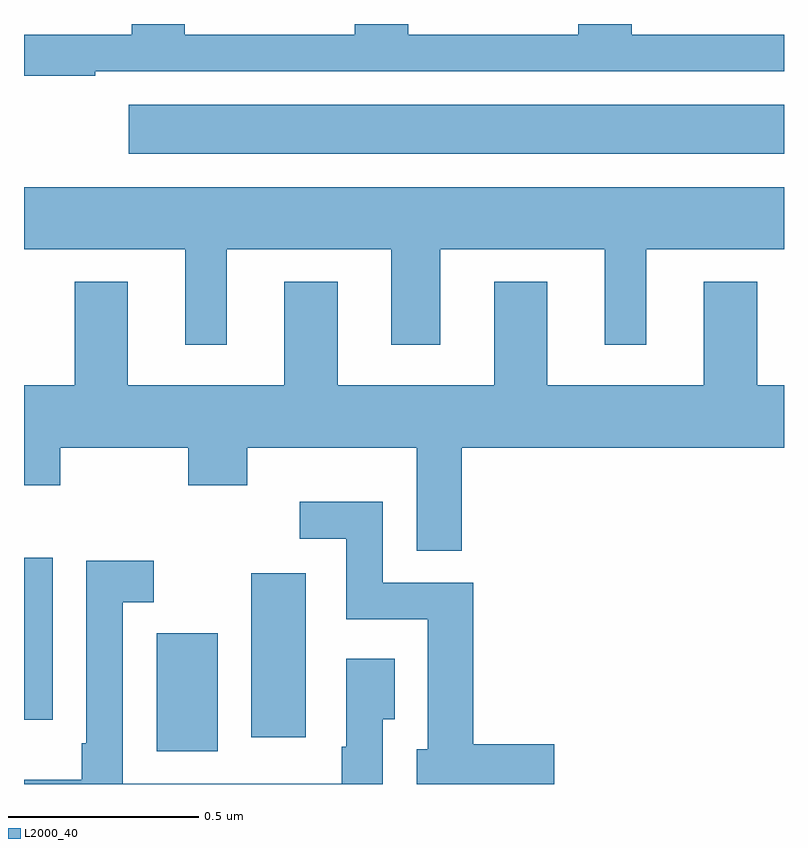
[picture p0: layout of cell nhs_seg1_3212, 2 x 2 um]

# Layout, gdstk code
import gdstk
lib = gdstk.Library(unit=1e-6, precision=1e-09)
def R(c, l, rs):  # rectangles x0, y0, x1, y1
    for r in rs: c.add(gdstk.rectangle(r[:2], r[2:], *l))
def P(c, l, *ps):  # polygons
    for p in ps: c.add(gdstk.Polygon(p, *l))
L2000_40 = (2000, 40)

nhs_seg1_3212 = lib.new_cell('nhs_seg1_3212')
R(nhs_seg1_3212, L2000_40, [(151.349,532.285,151.51,532.596), (151.598,532.322,151.741,532.753), (151,532.368,151.075,532.795), (151.275,533.858,153,533.986)])
P(nhs_seg1_3212, L2000_40, [(151.187,534.075),(153,534.075),(153,534.171),(152.599,534.171),(152.599,534.199),(152.459,534.199),(152.459,534.171),(152.011,534.171),(152.011,534.199),(151.871,534.199),(151.871,534.171),(151.423,534.171),(151.423,534.199),(151.283,534.199),(151.283,534.171),(151,534.171),(151,534.063),(151.187,534.063)],
  [(151.534,533.606),(151.967,533.606),(151.967,533.355),(152.095,533.355),(152.095,533.606),(152.528,533.606),(152.528,533.355),(152.638,533.355),(152.638,533.606),(153,533.606),(153,533.77),(151,533.77),(151,533.606),(151.424,533.606),(151.424,533.355),(151.534,533.355)],
  [(152.152,533.084),(153,533.084),(153,533.248),(152.929,533.248),(152.929,533.521),(152.789,533.521),(152.789,533.248),(152.377,533.248),(152.377,533.521),(152.237,533.521),(152.237,533.248),(151.825,533.248),(151.825,533.521),(151.685,533.521),(151.685,533.248),(151.273,533.248),(151.273,533.521),(151.133,533.521),(151.133,533.248),(151,533.248),(151,532.985),(151.095,532.985),(151.095,533.084),(151.432,533.084),(151.432,532.985),(151.587,532.985),(151.587,533.084),(152.033,533.084),(152.033,532.813),(152.152,532.813)],
  [(152.395,532.304),(152.182,532.304),(152.182,532.728),(151.944,532.728),(151.944,532.942),(151.725,532.942),(151.725,532.845),(151.848,532.845),(151.848,532.632),(152.063,532.632),(152.063,532.291),(152.033,532.291),(152.033,532.199),(152.395,532.199)],
  [(151.944,532.369),(151.975,532.369),(151.975,532.528),(151.848,532.528),(151.848,532.297),(151.836,532.297),(151.836,532.2),(151.26,532.2),(151.26,532.677),(151.342,532.677),(151.342,532.786),(151.164,532.786),(151.164,532.306),(151.152,532.306),(151.152,532.21),(151,532.21),(151,532.199),(151.944,532.199)])

lib.write_gds('nhs_seg1_3212.gds')
